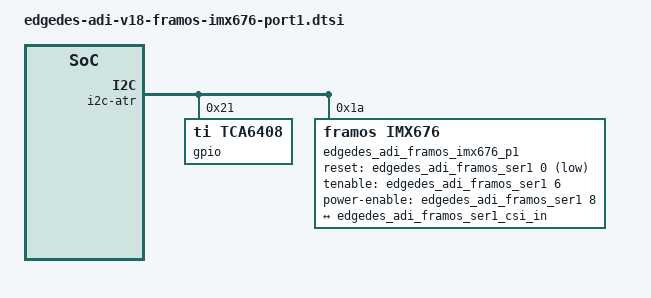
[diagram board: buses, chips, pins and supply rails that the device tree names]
// SPDX-License-Identifier: GPL-2.0-only
// SPDX-FileCopyrightText: Copyright (c) 2026 CompuLab Ltd.

fragment@2 {
	target = <&edgedes_adi_framos_i2c1>;
	__overlay__ {
		#address-cells = <1>;
		#size-cells = <0>;

		edgedes_adi_framos_ser1: serializer@40 {
			compatible = "maxim,max96793", "maxim,max96717f";
			reg = <0x40>;
			gpio-controller;
			#gpio-cells = <2>;
			#clock-cells = <0>;
			/* Pool for native TCA6408 0x21 and IMX676 0x1a; ATR assigns dynamically. */
			i2c-alias-pool = <0x23 0x1c>;
			pinctrl-names = "default";
			pinctrl-0 = <&edgedes_adi_framos_rclk_p1>;

			edgedes_adi_framos_rclk_p1: rclk-pins {
				pins = "mfp4";
				function = "rclkout";
				/* Qualified 37.125-MHz clock uses the fastest slew. */
				slew-rate = <0>;
			};

			ports {
				#address-cells = <1>;
				#size-cells = <0>;
				port@0 {
					reg = <0>;
					edgedes_adi_framos_ser1_csi_in: endpoint {
						bus-type = <MEDIA_BUS_TYPE_CSI2_DPHY>;
						clock-lanes = <0>;
						data-lanes = <1 2 3 4>;
						lane-polarities = <0 0 0 0 0>;
						remote-endpoint = <&edgedes_adi_framos_imx676_p1_out>;
					};
				};
				port@1 {
					reg = <1>;
					edgedes_adi_framos_ser1_out: endpoint {
						remote-endpoint = <&edgedes_adi_framos_gmsl1_in>;
					};
				};
			};

			i2c-atr {
				#address-cells = <1>;
				#size-cells = <0>;
				i2c@0 {
					reg = <0>;
					#address-cells = <1>;
					#size-cells = <0>;

					/* Expose the expander for diagnostics; do not change strap states. */
					gpio@21 {
						compatible = "ti,tca6408";
						reg = <0x21>;
						gpio-controller;
						#gpio-cells = <2>;
						gpio-line-names =
							"SLAMODE1", "SLAMODE2", "PW_EN_1", "TOUT0",
							"XMASTER0", "TOUT2", "SYS_PW_EN", "TOUT1";
					};

					edgedes_adi_framos_imx676_p1: imx676@1a {
						compatible = "framos,imx676";
						reg = <0x1a>;
						status = "okay";
						/* Driver: PW_EN low 5 ms, INCK on, XCLR low 200 ms. */
						reset-gpios = <&edgedes_adi_framos_ser1 0 GPIO_ACTIVE_LOW>;
						tenable-gpios = <&edgedes_adi_framos_ser1 6 GPIO_ACTIVE_HIGH>;
						power-enable-gpios = <&edgedes_adi_framos_ser1 8 GPIO_ACTIVE_HIGH>;
						clocks = <&edgedes_adi_framos_ser1>;
						clock-names = "mclk";
						mclk = "mclk";
						assigned-clocks = <&edgedes_adi_framos_ser1>;
						assigned-clock-rates = <37125000>;
						/* Native sensor CSI virtual channel; MAX96724 maps it downstream. */
						vc-id = <0>;
						devnode = "video1";
						/* 3552 active pixels at 2 um; four extra output rows. */
						physical_w = "7.104";
						physical_h = "7.104";
						sensor_model = "imx676";
						post_crop_frame_drop = "0";
						use_decibel_gain = "true";
						delayed_gain = "false";
						use_sensor_mode_id = "false";

						/* Preserve only the previously qualified native 10-FPS mode. */
						mode0 {
							vc_id = "1";
#include "edgedes-adi-v18-framos-imx676-mode.dtsi"
						};

						ports {
							#address-cells = <1>;
							#size-cells = <0>;
							port@0 {
								reg = <0>;
								edgedes_adi_framos_imx676_p1_out: endpoint {
									/* NVIDIA leaf metadata: downstream CSI-C, four lanes. */
									port-index = <2>;
									bus-width = <4>;
									bus-type = <MEDIA_BUS_TYPE_CSI2_DPHY>;
									clock-lanes = <0>;
									data-lanes = <1 2 3 4>;
									lane-polarities = <0 0 0 0 0>;
									/* Sensor CSI 720 Mb/s/lane; link-frequencies is half the bit rate. */
									link-frequencies = /bits/ 64 <360000000>;
									vc-id = <0>;
									remote-endpoint = <&edgedes_adi_framos_ser1_csi_in>;
								};
							};
						};
					};
				};
			};
		};
	};
};
